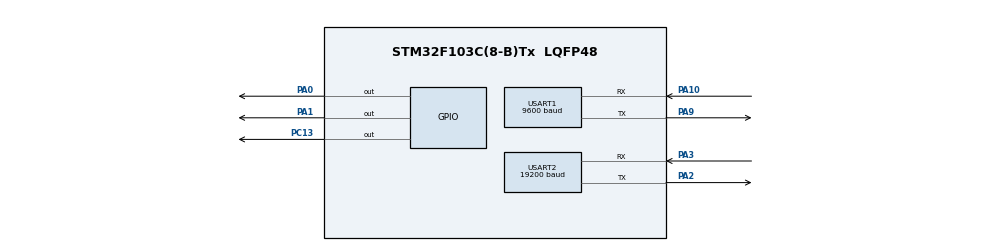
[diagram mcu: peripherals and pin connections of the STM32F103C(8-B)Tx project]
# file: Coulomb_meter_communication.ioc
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Mcu.Family=STM32F1
Mcu.Name=STM32F103C(8-B)Tx
Mcu.Package=LQFP48
NVIC.PriorityGroup=NVIC_PRIORITYGROUP_4
NVIC.TIM2_IRQn=true\:0\:0\:false\:false\:true\:true\:true\:true
NVIC.USART1_IRQn=true\:0\:0\:false\:false\:true\:true\:true\:true
NVIC.USART2_IRQn=true\:0\:0\:false\:false\:true\:true\:true\:true
PA0-WKUP.Signal=GPIO_Output
PA1.Signal=GPIO_Output
PA10.Mode=Asynchronous
PA10.Signal=USART1_RX
PA13.Mode=Serial_Wire
PA13.Signal=SYS_JTMS-SWDIO
PA14.Mode=Serial_Wire
PA14.Signal=SYS_JTCK-SWCLK
PA2.Mode=Asynchronous
PA2.Signal=USART2_TX
PA3.Mode=Asynchronous
PA3.Signal=USART2_RX
PA9.Mode=Asynchronous
PA9.Signal=USART1_TX
PC13-TAMPER-RTC.Signal=GPIO_Output
PD0-OSC_IN.Mode=HSE-External-Oscillator
PD0-OSC_IN.Signal=RCC_OSC_IN
PD1-OSC_OUT.Mode=HSE-External-Oscillator
PD1-OSC_OUT.Signal=RCC_OSC_OUT
ProjectManager.HeapSize=0x400
ProjectManager.StackSize=0x800
ProjectManager.TargetToolchain=STM32CubeIDE
RCC.APB1Freq_Value=8000000
RCC.APB2Freq_Value=8000000
TIM2.Period=1
TIM2.Prescaler=8000
USART1.BaudRate=9600
USART1.VirtualMode=VM_ASYNC
USART2.BaudRate=19200
USART2.VirtualMode=VM_ASYNC
VP_TIM2_VS_ClockSourceINT.Mode=Internal
board=custom

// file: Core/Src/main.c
/* USER CODE BEGIN Header */
/**
  ******************************************************************************
  * @file           : main.c
  * @brief          : Main program body
  ******************************************************************************
  * @attention
  *
  * Copyright (c) 2025 STMicroelectronics.
  * All rights reserved.
  *
  * This software is licensed under terms that can be found in the LICENSE file
  * in the root directory of this software component.
  * If no LICENSE file comes with this software, it is provided AS-IS.
  *
  ******************************************************************************
  */
/* USER CODE END Header */
#include "main.h"

/* USER CODE BEGIN Includes */
#include<stdio.h>
#include<string.h>
#include <stdint.h>
#include "stm32f1xx_hal.h"
/* USER CODE END Includes */

/* USER CODE BEGIN PD */
volatile uint16_t count_time_received_1 =0;
volatile uint16_t count_time_received_flag_1 =0;
volatile uint16_t count_time_received_2 =0;
volatile uint16_t count_time_received_flag_2 =0;
uint8_t rx_buffer_1[32];
uint8_t tx_buffer_1[32];
uint8_t rx_buffer_2[32];
uint8_t tx_buffer_2[32];
uint8_t rx_data_1=0;
uint8_t rx_data_2=0;
uint8_t rx_count_1;
uint8_t rx_count_2;
uint8_t trans_2_flag=0;
/* USER CODE END PD */

TIM_HandleTypeDef htim2;

UART_HandleTypeDef huart1;
UART_HandleTypeDef huart2;

/* USER CODE BEGIN PV */
uint8_t Checksum(uint8_t *data, uint8_t length_data){
	uint8_t checksum = 0xFF;
	for(uint8_t i=0; i< length_data; i++){
		checksum -=data[i];
	}
	return checksum;
}
void Host_send_request(UART_HandleTypeDef *huart, uint8_t command_code
		, uint8_t data1, uint8_t data2,uint8_t data3, uint8_t data4){

	tx_buffer_1[0]= 0xA5;
	tx_buffer_1[1]= 0x5A;
	tx_buffer_1[2]= 0x00;
	tx_buffer_1[3]= command_code;
	tx_buffer_1[4]= data1;
	tx_buffer_1[5]= data2;
	tx_buffer_1[6]= data3;
	tx_buffer_1[7]= data4;
	uint8_t checksum = Checksum(tx_buffer_1, 8);
	tx_buffer_1[8]= checksum;
	HAL_UART_Transmit(&huart1, tx_buffer_1, 9,300);

}
void Host_receive_response_set(){
	uint8_t received_checksum = rx_buffer_1[9-1];
	uint8_t calculated_checksum = Checksum(rx_buffer_1, 9-1);
	if (rx_buffer_1[0]== 0xB5 && rx_buffer_1[1]==0x5B && rx_buffer_1[2]==0x01){
		if (rx_buffer_1 [3]== tx_buffer_1[3] ){
			if(received_checksum == calculated_checksum){
				memcpy(tx_buffer_2, rx_buffer_1, sizeof(rx_buffer_1));
				trans_2_flag =1;

			}
		}
	}
}
void Host_receive_response_read(){
	uint8_t received_checksum = rx_buffer_1[21-1];
	uint8_t calculated_checksum = Checksum(rx_buffer_1, 21-1);
	if (rx_buffer_1[0]== 0xB5 && rx_buffer_1[1]==0x5B && rx_buffer_1[2]==0x01){
		if (rx_buffer_1 [3]== tx_buffer_1[3]){
			if(received_checksum == calculated_checksum){

				memcpy(tx_buffer_2, rx_buffer_1, sizeof(rx_buffer_1));
				trans_2_flag=1;
			}
		}
	}
}

void Send_to_hercules(UART_HandleTypeDef *huart,uint8_t *tx_buffer_2) {
	char buffer[512];
	int len;
	if(tx_buffer_1[3]== 0x01){

		uint8_t command_header1 = (tx_buffer_2[0]);
		uint8_t command_header2= tx_buffer_2[1];

		uint8_t address = tx_buffer_2[2];
		uint8_t command_code = tx_buffer_2[3];
		uint8_t battery_percentage = tx_buffer_2[4];
		float battery_capacity = (uint16_t)(tx_buffer_2[5]<<8|tx_buffer_2[6])/10.0;
		float voltage = (uint16_t)((tx_buffer_2[7] << 8) | tx_buffer_2[8]) / 10.0;
		float current = (uint16_t)((tx_buffer_2[9] << 8) | tx_buffer_2[10]) / 10.0;
		uint32_t charging_wh = (uint32_t)(tx_buffer_2[11] << 16) | (tx_buffer_2[12] << 8) | tx_buffer_2[13];
		uint32_t discharge_wh = (uint32_t)(tx_buffer_2[14] << 16) | (tx_buffer_2[15] << 8) | tx_buffer_2[16];
		float temperature = (uint16_t)((tx_buffer_2[17] << 8) | tx_buffer_2[18])/10.0;
	//    float temperature = temperature_raw / 10.0;
		uint8_t current_direction = tx_buffer_2[19];
		uint8_t checksum = tx_buffer_2[20];

		len = sprintf(buffer,
			"Command Header: %02X %02X\n"
			"Address: %02X\n"
			"Command Code: %02X\n"
			"Remaining Battery Percentage: %d%%\n"
			"Battery Capacity: %.1fAH\n"
			"Voltage: %.1fV\n"
			"Current: %.1fA\n"
			"Charging WH: %dWH\n"
			"Discharge WH: %dWH\n"
			"Temperature: %.1f ^C\n"
			"Current Direction: %02X\n"
			"Checksum: %02X\n",
			command_header1, command_header2 , address, command_code,
			battery_percentage,battery_capacity, voltage, current, charging_wh,
			discharge_wh, temperature, current_direction, checksum);

	}
	if(tx_buffer_1[3]== 0x02){
		uint8_t command_header1 = (tx_buffer_2[0]);
		uint8_t command_header2= tx_buffer_2[1];

		uint8_t address = tx_buffer_2[2];
		uint8_t command_code = tx_buffer_2[3];
		uint8_t backlight = tx_buffer_2[4];
		float battery_full = (uint16_t)(tx_buffer_2[5]<<8|tx_buffer_2[6])/10.0;
		float low_voltage = (uint16_t)((tx_buffer_2[7] << 8) | tx_buffer_2[8]) / 10.0;
		float high_voltage = (uint16_t)((tx_buffer_2[9] << 8) | tx_buffer_2[10]) / 10.0;
		float high_current = (uint16_t)(tx_buffer_2[11] << 8 | tx_buffer_2[12])/10.0 ;
		float rated_capacity = (uint16_t)(tx_buffer_2[13] << 8 | tx_buffer_2[14])/10.0 ;
		uint8_t current_range = (uint16_t)((tx_buffer_2[15] << 8) | tx_buffer_2[16]);
	//    float temperature = temperature_raw / 10.0;
//		float battery_undervoltage = (uint16_t)(tx_buffer_2[17]<<8 |tx_buffer_2[18])/10.0;
		uint16_t raw_value= (tx_buffer_2[17]<<8|tx_buffer_2[18]);
		float battery_undervoltage = raw_value/10.0;
		uint8_t useless_data = tx_buffer_2[19];
		uint8_t checksum = tx_buffer_2[20];

		len = sprintf(buffer,
			"Command Header: %02X %02X\n"
			"Address: %02X\n"
			"Command Code: %02X\n"
			"Battery undervoltage value: %3.1fV\n"
			"Backlight: %d\n"
			"Battery full charge voltage value: %3.1fAH\n"
			"Low voltage alarm voltage value: %3.1fV\n"
			"High voltage alarm voltage value: %3.1fV\n"
			"High current alarm voltage value: %dA\n"
			"Rated capacity of the battery: %dWH\n"
			"Current range: %3.1fA\n"
			"Useless data: %02X\n"
			"Checksum: %02X\n",
			command_header1, command_header2 , address, command_code,
			battery_undervoltage,backlight,battery_full, low_voltage, high_voltage, high_current,
			rated_capacity, current_range ,useless_data, checksum);
	}
	HAL_UART_Transmit(huart, (uint8_t*)buffer, len,300);
}

//    uint8_t tx_buffer_2[21] = {0xB5, 0x5B, 0x00, 0x01, 0x01, 0x30, 0x30, 0x00, 0x01, 0x00, 0x01, 0x00, 0x00, 0x00, 0x00, 0x00, 0x00, 0xFF, 0xE2, 0x00, 0x7B};
//
//    return 0;

/* USER CODE END PV */

void SystemClock_Config(void);
static void MX_GPIO_Init(void);
static void MX_USART1_UART_Init(void);
static void MX_USART2_UART_Init(void);
static void MX_TIM2_Init(void);

/* USER CODE BEGIN 0 */

void HAL_UART_RxCpltCallback(UART_HandleTypeDef *huart){
	if(huart->Instance == USART1){
		HAL_UART_Receive_IT(&huart1, &rx_data_1, 1);
		rx_buffer_1[rx_count_1++]= rx_data_1;
		count_time_received_1 =0;
	}
	if(huart->Instance == USART2){
		HAL_UART_Receive_IT(&huart2, &rx_data_2, 1);
		rx_buffer_2[rx_count_2++]=rx_data_2;
		count_time_received_1 =0;
	}
}

void HAL_TIM_PeriodElapsedCallback(TIM_HandleTypeDef *htim){
    if (htim->Instance == TIM2) {

    	count_time_received_1++;
    	if(count_time_received_1 > 100 && rx_count_1 >0){
    		count_time_received_flag_1 =1;
    	}
//    	count_time_received_2++;
//    	if(count_time_received_2 >100 && rx_count_2 >0){
//    		count_time_received_flag_2 =1;
//    	}
    }
}
//void HAL_UART_RxCpltCallback(UART_HandleTypeDef *huart){
//    if(huart->Instance == USART1){
//        HAL_UART_Transmit(&huart1,&rx_data,sizeof(rx_data), 100);
//        HAL_UART_Receive_IT(&huart1, &rx_data, 1);
//    }
//}
/* USER CODE END 0 */

int main(void)
{

  /* MCU Configuration--------------------------------------------------------*/

  /* Reset of all peripherals, Initializes the Flash interface and the Systick. */
  HAL_Init();

  /* Configure the system clock */
  SystemClock_Config();

  /* Initialize all configured peripherals */
  MX_GPIO_Init();
  MX_USART1_UART_Init();
  MX_USART2_UART_Init();
  MX_TIM2_Init();
  /* USER CODE BEGIN 2 */
  HAL_GPIO_WritePin(GPIOC, GPIO_PIN_13, GPIO_PIN_SET);

  HAL_UART_Receive_IT(&huart1, &rx_data_1, 1);
  HAL_UART_Receive_IT(&huart2, &rx_data_2, 1);
  HAL_TIM_Base_Start_IT(&htim2);

  HAL_GPIO_WritePin(GPIOA, GPIO_PIN_0, GPIO_PIN_SET); // set pin High de truyen data
  //gui ham ghi xuong thiet bi
  Host_send_request(&huart1, 0x02, 0x00, 0x00, 0x00, 0x00);
  HAL_Delay(10);
  HAL_GPIO_WritePin(GPIOA, GPIO_PIN_0, GPIO_PIN_RESET); // set pin Low de nhan data

  /* USER CODE END 2 */

  /* Infinite loop */
  while (1)
  {

    /* USER CODE BEGIN 3 */
//	  if(rx_count > 0){
//		  Host_receive_response_set();
//	  }

	  if(count_time_received_flag_1){
		  if(tx_buffer_1[3]== 0x01 || tx_buffer_1[3]== 0x02){
			  Host_receive_response_read();
		  }
		  else{
			  Host_receive_response_set();
		  }
	  }
	  if(trans_2_flag){
		  HAL_GPIO_WritePin(GPIOA, GPIO_PIN_1, GPIO_PIN_SET);
		  if(tx_buffer_1[3]== 0x01 || tx_buffer_1[3]== 0x02){
			  Send_to_hercules(&huart2,tx_buffer_2);
		  }
		  else{
			  HAL_UART_Transmit(&huart2, tx_buffer_2, 9,100);
		  }
		  memset(rx_buffer_1, 0, sizeof(rx_buffer_1));
		  rx_count_1=0;
		  HAL_GPIO_WritePin(GPIOA, GPIO_PIN_1, GPIO_PIN_RESET);
		  trans_2_flag=0;
	  }
//	  if(count_time_received_flag_2){
//
//		  STM_received_from_PC();
//	  }

//	  if(tx_buffer_2 != '\0'){
//		  HAL_UART_Transmit(&huart2, tx_buffer_2, sizeof(tx_buffer_2),100);
//
//	  }
  }
  /* USER CODE END 3 */
}

void SystemClock_Config(void)
{
  RCC_OscInitTypeDef RCC_OscInitStruct = {0};
  RCC_ClkInitTypeDef RCC_ClkInitStruct = {0};

  /** Initializes the RCC Oscillators according to the specified parameters
  * in the RCC_OscInitTypeDef structure.
  */
  RCC_OscInitStruct.OscillatorType = RCC_OSCILLATORTYPE_HSI;
  RCC_OscInitStruct.HSIState = RCC_HSI_ON;
  RCC_OscInitStruct.HSICalibrationValue = RCC_HSICALIBRATION_DEFAULT;
  RCC_OscInitStruct.PLL.PLLState = RCC_PLL_NONE;
  if (HAL_RCC_OscConfig(&RCC_OscInitStruct) != HAL_OK)
  {
    Error_Handler();
  }

  /** Initializes the CPU, AHB and APB buses clocks
  */
  RCC_ClkInitStruct.ClockType = RCC_CLOCKTYPE_HCLK|RCC_CLOCKTYPE_SYSCLK
                              |RCC_CLOCKTYPE_PCLK1|RCC_CLOCKTYPE_PCLK2;
  RCC_ClkInitStruct.SYSCLKSource = RCC_SYSCLKSOURCE_HSI;
  RCC_ClkInitStruct.AHBCLKDivider = RCC_SYSCLK_DIV1;
  RCC_ClkInitStruct.APB1CLKDivider = RCC_HCLK_DIV1;
  RCC_ClkInitStruct.APB2CLKDivider = RCC_HCLK_DIV1;

  if (HAL_RCC_ClockConfig(&RCC_ClkInitStruct, FLASH_LATENCY_0) != HAL_OK)
  {
    Error_Handler();
  }
}

static void MX_TIM2_Init(void)
{

  TIM_ClockConfigTypeDef sClockSourceConfig = {0};
  TIM_MasterConfigTypeDef sMasterConfig = {0};

  htim2.Instance = TIM2;
  htim2.Init.Prescaler = 8000;
  htim2.Init.CounterMode = TIM_COUNTERMODE_UP;
  htim2.Init.Period = 1;
  htim2.Init.ClockDivision = TIM_CLOCKDIVISION_DIV1;
  htim2.Init.AutoReloadPreload = TIM_AUTORELOAD_PRELOAD_DISABLE;
  if (HAL_TIM_Base_Init(&htim2) != HAL_OK)
  {
    Error_Handler();
  }
  sClockSourceConfig.ClockSource = TIM_CLOCKSOURCE_INTERNAL;
  if (HAL_TIM_ConfigClockSource(&htim2, &sClockSourceConfig) != HAL_OK)
  {
    Error_Handler();
  }
  sMasterConfig.MasterOutputTrigger = TIM_TRGO_RESET;
  sMasterConfig.MasterSlaveMode = TIM_MASTERSLAVEMODE_DISABLE;
  if (HAL_TIMEx_MasterConfigSynchronization(&htim2, &sMasterConfig) != HAL_OK)
  {
    Error_Handler();
  }

}

static void MX_USART1_UART_Init(void)
{

  huart1.Instance = USART1;
  huart1.Init.BaudRate = 9600;
  huart1.Init.WordLength = UART_WORDLENGTH_8B;
  huart1.Init.StopBits = UART_STOPBITS_1;
  huart1.Init.Parity = UART_PARITY_NONE;
  huart1.Init.Mode = UART_MODE_TX_RX;
  huart1.Init.HwFlowCtl = UART_HWCONTROL_NONE;
  huart1.Init.OverSampling = UART_OVERSAMPLING_16;
  if (HAL_UART_Init(&huart1) != HAL_OK)
  {
    Error_Handler();
  }

}

static void MX_USART2_UART_Init(void)
{

  huart2.Instance = USART2;
  huart2.Init.BaudRate = 19200;
  huart2.Init.WordLength = UART_WORDLENGTH_8B;
  huart2.Init.StopBits = UART_STOPBITS_1;
  huart2.Init.Parity = UART_PARITY_NONE;
  huart2.Init.Mode = UART_MODE_TX_RX;
  huart2.Init.HwFlowCtl = UART_HWCONTROL_NONE;
  huart2.Init.OverSampling = UART_OVERSAMPLING_16;
  if (HAL_UART_Init(&huart2) != HAL_OK)
  {
    Error_Handler();
  }

}

static void MX_GPIO_Init(void)
{
  GPIO_InitTypeDef GPIO_InitStruct = {0};

  /* GPIO Ports Clock Enable */
  __HAL_RCC_GPIOC_CLK_ENABLE();
  __HAL_RCC_GPIOD_CLK_ENABLE();
  __HAL_RCC_GPIOA_CLK_ENABLE();

  /*Configure GPIO pin Output Level */
  HAL_GPIO_WritePin(GPIOC, GPIO_PIN_13, GPIO_PIN_RESET);

  /*Configure GPIO pin Output Level */
  HAL_GPIO_WritePin(GPIOA, GPIO_PIN_0|GPIO_PIN_1, GPIO_PIN_RESET);

  /*Configure GPIO pin : PC13 */
  GPIO_InitStruct.Pin = GPIO_PIN_13;
  GPIO_InitStruct.Mode = GPIO_MODE_OUTPUT_PP;
  GPIO_InitStruct.Pull = GPIO_NOPULL;
  GPIO_InitStruct.Speed = GPIO_SPEED_FREQ_LOW;
  HAL_GPIO_Init(GPIOC, &GPIO_InitStruct);

  /*Configure GPIO pins : PA0 PA1 */
  GPIO_InitStruct.Pin = GPIO_PIN_0|GPIO_PIN_1;
  GPIO_InitStruct.Mode = GPIO_MODE_OUTPUT_PP;
  GPIO_InitStruct.Pull = GPIO_NOPULL;
  GPIO_InitStruct.Speed = GPIO_SPEED_FREQ_LOW;
  HAL_GPIO_Init(GPIOA, &GPIO_InitStruct);

}

void Error_Handler(void)
{
  __disable_irq();
  while (1)
  {
  }
}
